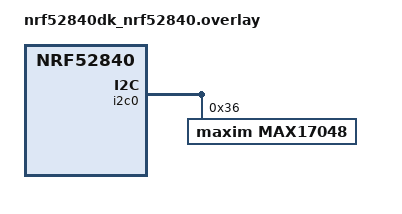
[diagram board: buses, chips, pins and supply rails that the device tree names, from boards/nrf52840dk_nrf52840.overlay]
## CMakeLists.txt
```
# SPDX-License-Identifier: Apache-2.0

cmake_minimum_required(VERSION 3.20.0)
find_package(Zephyr REQUIRED HINTS $ENV{ZEPHYR_BASE})
project(max17048)

FILE(GLOB app_sources src/*.c)
target_sources(app PRIVATE ${app_sources})
```

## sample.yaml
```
sample:
  name: MAX17048 Sensor sample
tests:
  sample.sensor.max17048:
    build_only: true
    platform_allow: nrf52dk/nrf52832
    integration_platforms:
      - nrf52dk/nrf52832
    tags: fuel_gauge
```

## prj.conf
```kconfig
CONFIG_FUEL_GAUGE=y
```

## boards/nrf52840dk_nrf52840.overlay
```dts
/*
 * Copyright (c) 2023 Alvaro Garcia Gomez <maxpowel@gmail.com>
 *
 * SPDX-License-Identifier: Apache-2.0
 */

&i2c0 {
	status = "okay";
	compatible = "nordic,nrf-twim";
	pinctrl-0 = <&i2c0_default>;
	pinctrl-1 = <&i2c0_sleep>;
	pinctrl-names = "default", "sleep";
	max17048:max17048@36 {
		compatible = "maxim,max17048";
		status = "ok";
		reg = <0x36 >;
	};
};
```

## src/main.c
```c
/*
 * Copyright (c) 2023 Alvaro Garcia Gomez <maxpowel@gmail.com>
 *
 * SPDX-License-Identifier: Apache-2.0
 */

#include "zephyr/sys/util.h"
#include <zephyr/kernel.h>
#include <zephyr/device.h>
#include <zephyr/devicetree.h>
#include <zephyr/drivers/fuel_gauge.h>



int main(void)
{
	const struct device *const dev = DEVICE_DT_GET_ANY(maxim_max17048);
	int ret = 0;

	if (dev == NULL) {
		printk("\nError: no device found.\n");
		return 0;
	}

	if (!device_is_ready(dev)) {
		printk("\nError: Device \"%s\" is not ready; "
		       "check the driver initialization logs for errors.\n",
		       dev->name);
		return 0;
	}



	printk("Found device \"%s\", getting fuel gauge data\n", dev->name);

	if (dev == NULL) {
		return 0;
	}

	while (1) {

		fuel_gauge_prop_t props[] = {
			FUEL_GAUGE_RUNTIME_TO_EMPTY,
			FUEL_GAUGE_RUNTIME_TO_FULL,
			FUEL_GAUGE_RELATIVE_STATE_OF_CHARGE,
			FUEL_GAUGE_VOLTAGE,
		};

		union fuel_gauge_prop_val vals[ARRAY_SIZE(props)];

		ret = fuel_gauge_get_props(dev, props, vals, ARRAY_SIZE(props));
		if (ret < 0) {
			printk("Error: cannot get properties\n");
		} else {
			printk("Time to empty %d minutes\n", vals[0].runtime_to_empty);

			printk("Time to full %d minutes\n", vals[1].runtime_to_full);

			printk("Charge %d%%\n", vals[2].relative_state_of_charge);

			printk("Voltage %d\n uV", vals[3].voltage);
		}

		k_sleep(K_MSEC(5000));
	}
	return 0;
}
```
